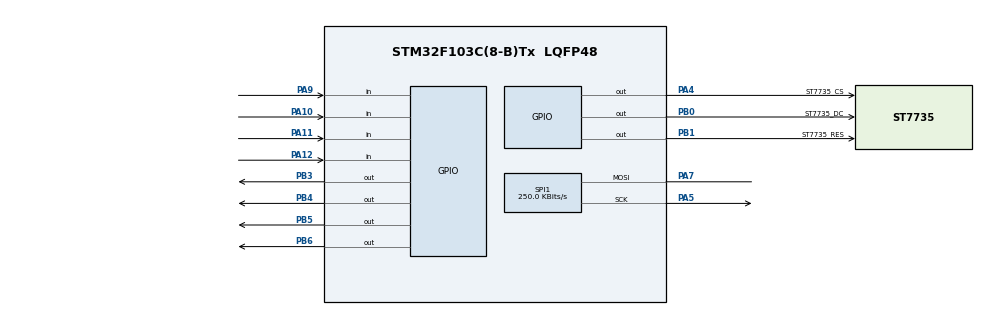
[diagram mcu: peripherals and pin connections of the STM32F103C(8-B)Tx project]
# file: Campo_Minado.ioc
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Mcu.Family=STM32F1
Mcu.Name=STM32F103C(8-B)Tx
Mcu.Package=LQFP48
NVIC.PriorityGroup=NVIC_PRIORITYGROUP_4
PA10.GPIO_PuPd=GPIO_PULLUP
PA10.Signal=GPIO_Input
PA11.GPIO_PuPd=GPIO_PULLUP
PA11.Signal=GPIO_Input
PA12.GPIO_PuPd=GPIO_PULLUP
PA12.Signal=GPIO_Input
PA13.Mode=Serial_Wire
PA13.Signal=SYS_JTMS-SWDIO
PA14.Mode=Serial_Wire
PA14.Signal=SYS_JTCK-SWCLK
PA4.GPIO_Label=ST7735_CS
PA4.Signal=GPIO_Output
PA5.Mode=Simplex_Bidirectional_Master
PA5.Signal=SPI1_SCK
PA7.Mode=Simplex_Bidirectional_Master
PA7.Signal=SPI1_MOSI
PA9.GPIO_PuPd=GPIO_PULLUP
PA9.Signal=GPIO_Input
PB0.GPIO_Label=ST7735_DC
PB0.Signal=GPIO_Output
PB1.GPIO_Label=ST7735_RES
PB1.Signal=GPIO_Output
PB3.Signal=GPIO_Output
PB4.Signal=GPIO_Output
PB5.Signal=GPIO_Output
PB6.Signal=GPIO_Output
ProjectManager.HeapSize=0x200
ProjectManager.StackSize=0x400
ProjectManager.TargetToolchain=STM32CubeIDE
RCC.APB1Freq_Value=8000000
RCC.APB2Freq_Value=8000000
SPI1.BaudRatePrescaler=SPI_BAUDRATEPRESCALER_32
SPI1.CalculateBaudRate=250.0 KBits/s
SPI1.Direction=SPI_DIRECTION_1LINE
SPI1.Mode=SPI_MODE_MASTER
SPI1.VirtualType=VM_MASTER
board=custom

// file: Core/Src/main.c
/* USER CODE BEGIN Header */
/**
 ******************************************************************************
 * @file           : main.c
 * @brief          : Main program body
 ******************************************************************************
 * @attention
 *
 * <h2><center>&copy; Copyright (c) 2024 STMicroelectronics.
 * All rights reserved.</center></h2>
 *
 * This software component is licensed by ST under BSD 3-Clause license,
 * the "License"; You may not use this file except in compliance with the
 * License. You may obtain a copy of the License at:
 *                        opensource.org/licenses/BSD-3-Clause
 *
 ******************************************************************************
 */
/* USER CODE END Header */
#include "main.h"

/* USER CODE BEGIN Includes */
#include "ST7735/st7735.h"
#include <stdlib.h>
#include <string.h>
#include <time.h> //para o rand()
/* USER CODE END Includes */

/* USER CODE BEGIN PD */
#define LIGA_LEDS HAL_GPIO_WritePin(GPIOB, GPIO_PIN_3 + GPIO_PIN_4 + GPIO_PIN_5 + GPIO_PIN_6, 1)
#define DESLIGA_LEDS HAL_GPIO_WritePin(GPIOB, GPIO_PIN_3 + GPIO_PIN_4 + GPIO_PIN_5 + GPIO_PIN_6, 0)
#define LE_BOTAO_CIMA HAL_GPIO_ReadPin(GPIOA, GPIO_PIN_12)
#define LE_BOTAO_DIREITO HAL_GPIO_ReadPin(GPIOA, GPIO_PIN_11)
#define LE_BOTAO_BAIXO HAL_GPIO_ReadPin(GPIOA, GPIO_PIN_10)
#define LE_BOTAO_ESQUERDO HAL_GPIO_ReadPin(GPIOA, GPIO_PIN_9)

/* USER CODE END PD */

SPI_HandleTypeDef hspi1;

/* USER CODE BEGIN PV */
int bomba_bandeira = 0;
int a1 = 2;
int contBomba = 0;
char str[12]; //usado na conversao de int para string
char strA[12];
char tabuleiro[6][4];
int  tabu_bomb[6][4];
int x = 103;
int y = 20;
int xa = 5;
int ya = 80;
int x_pixel = 10;
int y_pixel = 10;
int c = 0;
int l = 0;
int x_pixel1 = 0;
int y_pixel1 = 0;
int confirmar = 0;
int casas_abertas = 0;
/* USER CODE END PV */

void SystemClock_Config(void);
static void MX_GPIO_Init(void);
static void MX_SPI1_Init(void);
void Start(void);
void Error(void);
void Square(void);
void Navegacao(void);
void Bomb(void);
void VerificaCasa(void);
void Bandeira(int x_pixel1, int y_pixel1);
void Perdeu(void);
void Ganhou(void);

int main(void) {

	/* MCU Configuration--------------------------------------------------------*/

	/* Reset of all peripherals, Initializes the Flash interface and the Systick. */
	HAL_Init();

	/* Configure the system clock */
	SystemClock_Config();

	/* Initialize all configured peripherals */
	MX_GPIO_Init();
	MX_SPI1_Init();
	/* USER CODE BEGIN 2 */
	ST7735_Init();
	/* USER CODE END 2 */

	/* Infinite loop */
	/* USER CODE BEGIN WHILE */

	//Square();

	while (1) {
		a1 = 2;

		Start();
		Navegacao();

		//Matriz();
		//Bomb();
		//ST7735_FillRectangle(60, 40, 10, 10, WHITE);
		//Navegacao();

		/* USER CODE END WHILE */

	}
}

void SystemClock_Config(void) {
	RCC_OscInitTypeDef RCC_OscInitStruct = { 0 };
	RCC_ClkInitTypeDef RCC_ClkInitStruct = { 0 };

	/** Initializes the RCC Oscillators according to the specified parameters
	 * in the RCC_OscInitTypeDef structure.
	 */
	RCC_OscInitStruct.OscillatorType = RCC_OSCILLATORTYPE_HSI;
	RCC_OscInitStruct.HSIState = RCC_HSI_ON;
	RCC_OscInitStruct.HSICalibrationValue = RCC_HSICALIBRATION_DEFAULT;
	RCC_OscInitStruct.PLL.PLLState = RCC_PLL_NONE;
	if (HAL_RCC_OscConfig(&RCC_OscInitStruct) != HAL_OK) {
		Error_Handler();
	}
	/** Initializes the CPU, AHB and APB buses clocks
	 */
	RCC_ClkInitStruct.ClockType = RCC_CLOCKTYPE_HCLK | RCC_CLOCKTYPE_SYSCLK
			| RCC_CLOCKTYPE_PCLK1 | RCC_CLOCKTYPE_PCLK2;
	RCC_ClkInitStruct.SYSCLKSource = RCC_SYSCLKSOURCE_HSI;
	RCC_ClkInitStruct.AHBCLKDivider = RCC_SYSCLK_DIV1;
	RCC_ClkInitStruct.APB1CLKDivider = RCC_HCLK_DIV1;
	RCC_ClkInitStruct.APB2CLKDivider = RCC_HCLK_DIV1;

	if (HAL_RCC_ClockConfig(&RCC_ClkInitStruct, FLASH_LATENCY_0) != HAL_OK) {
		Error_Handler();
	}
}

static void MX_SPI1_Init(void) {

	/* SPI1 parameter configuration*/
	hspi1.Instance = SPI1;
	hspi1.Init.Mode = SPI_MODE_MASTER;
	hspi1.Init.Direction = SPI_DIRECTION_1LINE;
	hspi1.Init.DataSize = SPI_DATASIZE_8BIT;
	hspi1.Init.CLKPolarity = SPI_POLARITY_LOW;
	hspi1.Init.CLKPhase = SPI_PHASE_1EDGE;
	hspi1.Init.NSS = SPI_NSS_SOFT;
	hspi1.Init.BaudRatePrescaler = SPI_BAUDRATEPRESCALER_32;
	hspi1.Init.FirstBit = SPI_FIRSTBIT_MSB;
	hspi1.Init.TIMode = SPI_TIMODE_DISABLE;
	hspi1.Init.CRCCalculation = SPI_CRCCALCULATION_DISABLE;
	hspi1.Init.CRCPolynomial = 10;
	if (HAL_SPI_Init(&hspi1) != HAL_OK) {
		Error_Handler();
	}

}

static void MX_GPIO_Init(void) {
	GPIO_InitTypeDef GPIO_InitStruct = { 0 };

	/* GPIO Ports Clock Enable */
	__HAL_RCC_GPIOA_CLK_ENABLE();
	__HAL_RCC_GPIOB_CLK_ENABLE();

	/*Configure GPIO pin Output Level */
	HAL_GPIO_WritePin(ST7735_CS_GPIO_Port, ST7735_CS_Pin, GPIO_PIN_RESET);

	/*Configure GPIO pin Output Level */
	HAL_GPIO_WritePin(GPIOB,
			ST7735_DC_Pin | ST7735_RES_Pin | GPIO_PIN_3 | GPIO_PIN_4
					| GPIO_PIN_5 | GPIO_PIN_6, GPIO_PIN_RESET);

	/*Configure GPIO pin : ST7735_CS_Pin */
	GPIO_InitStruct.Pin = ST7735_CS_Pin;
	GPIO_InitStruct.Mode = GPIO_MODE_OUTPUT_PP;
	GPIO_InitStruct.Pull = GPIO_NOPULL;
	GPIO_InitStruct.Speed = GPIO_SPEED_FREQ_LOW;
	HAL_GPIO_Init(ST7735_CS_GPIO_Port, &GPIO_InitStruct);

	/*Configure GPIO pins : ST7735_DC_Pin ST7735_RES_Pin PB3 PB4
	 PB5 PB6 */
	GPIO_InitStruct.Pin = ST7735_DC_Pin | ST7735_RES_Pin | GPIO_PIN_3
			| GPIO_PIN_4 | GPIO_PIN_5 | GPIO_PIN_6;
	GPIO_InitStruct.Mode = GPIO_MODE_OUTPUT_PP;
	GPIO_InitStruct.Pull = GPIO_NOPULL;
	GPIO_InitStruct.Speed = GPIO_SPEED_FREQ_LOW;
	HAL_GPIO_Init(GPIOB, &GPIO_InitStruct);

	/*Configure GPIO pins : PA9 PA10 PA11 PA12 */
	GPIO_InitStruct.Pin = GPIO_PIN_9 | GPIO_PIN_10 | GPIO_PIN_11 | GPIO_PIN_12;
	GPIO_InitStruct.Mode = GPIO_MODE_INPUT;
	GPIO_InitStruct.Pull = GPIO_PULLUP;
	HAL_GPIO_Init(GPIOA, &GPIO_InitStruct);

}

/* USER CODE BEGIN 4 */

/*void Conversao(void){

 char s[] = "12345";

 int x = atoi(s);
 //itoa conversao de int para impressao da string
 }*/

/*void Conversao(void){

 char s[] = "12345";

 int x = atoi(s);
 //itoa conversao de int para impressao da string
 }*/

void Start(void) {

	ST7735_FillScreen(BLACK);
	while(a1 == 2){
	/*bomba eh uma variavel que salva a ultima alteracao, podendo ser de if ou else if*/

	ST7735_WriteString(40, 15, "MENU ESCOLHA", Font_7x10, WHITE, BLACK);
	ST7735_WriteString(4, 30, "quant de bombas: ", Font_7x10, WHITE, BLACK);
	ST7735_WriteString(4, 45, "Recomenda-se: 5", Font_7x10, WHITE, BLACK);
	ST7735_WriteString(4, 60, "quant. escolhida: ", Font_7x10, WHITE, BLACK);

	if (LE_BOTAO_CIMA == 0) {

		contBomba++;
		bomba_bandeira = contBomba;
	}

	else if (LE_BOTAO_BAIXO == 0) {

		if(contBomba >= 1){
		contBomba--;
		bomba_bandeira = contBomba;

		}
		else{

			contBomba = 0;
		}

	}

	// Converter int para string usando a função sprintf
	sprintf(str, "%d", bomba_bandeira);
	// Agora 'str' contém a representação do número como string

	ST7735_WriteString(130, 60, str, Font_7x10, WHITE, BLACK);

	 if (LE_BOTAO_DIREITO == 0) {//confirma escolha

		ST7735_FillScreen(BLACK);
		if (bomba_bandeira >= 1) {

			x = 103;
			y = 20;
			xa = 5;
			ya = 80;
			Square();
			a1 = 0;
		}
		else {
			Error();
		}
	}
	}
}
void Matriz(void){

   char tabuleiro[6][4];
  int cont = 0;
  int escolha = 1;

  	/*int npralinha = rand()%10;
  	int npracoluna = rand()%10;

  	printf(".%i.",npracoluna);
  	//printf("\n");
  	printf(".%i.",npralinha);
  	//printf("\n");
  */

  	for (int p = 0; p < 6; p++)
  	{
      	for (int i = 0; i < 4; i++)
		{
			if (cont < escolha)
			{

					tabuleiro[p][i] = '1';
					cont = cont + 1;
					printf("%i new cont: ", cont);
		    }
		        else
				{
	 				tabuleiro[p][i] = '0';
	 			}
		}
  	}

    /*printf("\n");
    for (int p = 0; p < 6; p++)
  	{
      	for (int i = 0; i < 4; i++)
		{
		    printf("(%c)",tabuleiro[p][i]);
		    //printf("\n");
		}
  	}*/

}

void Bomb(void){

	tabu_bomb[6][4];

	//inicializa o gerador de numeros aleatorios
	srand(time(NULL));

	//preenche a matriz com valores aleatorios entre 0 e 1
	for(int x = 0; x < 6; x++){
		for(int y = 0; y < 4; y++){
			tabu_bomb[x][y] = rand() % 2; // gera numeros aleatorios em posicoes aleatorias 0 e 1
		}
	}
}

void Error(void) {

	ST7735_WriteString(4, 45, "BOMBA DEVE SER < 0", Font_7x10, RED, BLACK);

	HAL_Delay(3000);
	Start();
}
void Perdeu(void) {

	ST7735_FillScreen(BLACK);
	ST7735_WriteString(4, 45, "Perdeu", Font_7x10, RED, BLACK);

	HAL_Delay(3000);
	a1 =2;

}
void Ganhou(void) {

/*	ST7735_FillScreen(BLACK);
	ST7735_WriteString(4, 45, "Ganhou", Font_7x10, RED, BLACK);

	HAL_Delay(3000);
	a1 =2;*/

}

void Square(void)
{
	for (int i = 0; i < 4;i++)//LINHAS HORIZONTAIS
		{
			ST7735_DrawLine(6, y, x, y, BLUE);
			y +=20;
		}
	for (int i = 0; i < 6;i++)// LINHAS VERTICAIS
	{
		ST7735_DrawLine(xa, 0, xa, ya+20, YELLOW);
		xa +=20;
	}
	  Bomb();
}

void Navegacao(void)
{
	  int x_pixel1 = x_pixel;
	  int y_pixel1 = y_pixel;

	  c = 0;
	  l = 0;

	  while (confirmar == 0)
  {
		  if (LE_BOTAO_CIMA == 0)
		  {
		  	  	if (tabu_bomb[c][l] == 1)
		  	  	{
		  	  		ST7735_FillRectangle(x_pixel1 -3, y_pixel1-5, 16, 15, RED);
		  	  		HAL_Delay(700);
		  	  		confirmar = 1;
		  	  	}
		  	  	else
		  	  	{
		  	  		ST7735_FillRectangle(x_pixel1 -3, y_pixel1-5, 16, 15, YELLOW);
		  	  		casas_abertas +=1;
		  	  		casas_abertas++;
		  	  	}
		  }
		  ST7735_FillRectangle(x_pixel1 -3, y_pixel1-5, 7, 7, WHITE);

	if (LE_BOTAO_DIREITO == 0)
		{
			if (/*c < 4 && l < 5 && */x_pixel1 < 90 && y_pixel1 < 80)
			{
				  ST7735_FillRectangle(x_pixel1 -3, y_pixel1-5, 7, 7, BLACK);//ANDAR PRA FRENTE

				x_pixel1 +=20;
				c +=1;
				HAL_Delay(500);//SEM O DELAY O PIXEL PERCORRE POR TODA AS CASAS FRENETICO

			}
			else if (y_pixel1 >= 70 )//VOLTAR PRO INICIO TOTAL
			{
				  ST7735_FillRectangle(x_pixel1 -3, y_pixel1-5, 7, 7, BLACK);
				c = 0;
				l = 0;
				x_pixel1 = x_pixel;
				y_pixel1 = y_pixel;
				HAL_Delay(500);
			}

			else if (x_pixel1 >= 81)// IR PRO INICIO DA PROXIMA LINHA
			{
				  ST7735_FillRectangle(x_pixel1 -3, y_pixel1-5, 7, 7, BLACK);
				x_pixel1 = x_pixel;
				y_pixel1 += 20;
				l += 1;
				c = 0;
				HAL_Delay(500);
			}
		}

		if(LE_BOTAO_BAIXO == 0){
			Bandeira(x_pixel1, y_pixel1);
		}
		int max_casas = 20;
		int ganhar = max_casas - bomba_bandeira;
		if (casas_abertas == ganhar)
		{
			Ganhou();
		}
	}
	  confirmar = 0;
	  Perdeu();

}

void Bandeira(int x_pixel1, int y_pixel1){
	/*int w_retangle = x_pixel1 + 6;
	int h_retangle = y_pixel1 + 6;*/	//colocar um desenho para imprimir para ele ficar na função
	/*    O jogador pode marcar casas como "possível bomba" usando uma
	bandeirinha. É uum palpite, e ele pode estar certo ou não. Para cada bandeirinha marcada, o contador
	de bombas na tela diminui.        */

		/* no p10 caso o jogador aperte será colorido de amarelo a casa que ele confirmou
		 * sendo assim, diminuira a quantidade de bombas*/
			//if()//se bandeira for menor que 1 nn funciona mais
			if(bomba_bandeira >= 1){

				/*para que as variaveis de x e y acompanhem o cursor p/ serem impressas será necessario colocar
				 * um ponteiro em cada para apontarem para o endereço xpixel e ypixel?*/
				ST7735_FillRectangle(x_pixel1 -5, y_pixel1-5, 16, 15, BLUE);
				bomba_bandeira = bomba_bandeira - 1;
				HAL_Delay(500);
				sprintf(strA, "%d", bomba_bandeira);
				ST7735_WriteString(130, 60, strA, Font_7x10, WHITE, BLACK);

			}

}
/* USER CODE END 4 */

void Error_Handler(void) {
__disable_irq();
while (1) {
}
}

/************************ (C) COPYRIGHT STMicroelectronics *****END OF FILE****/
